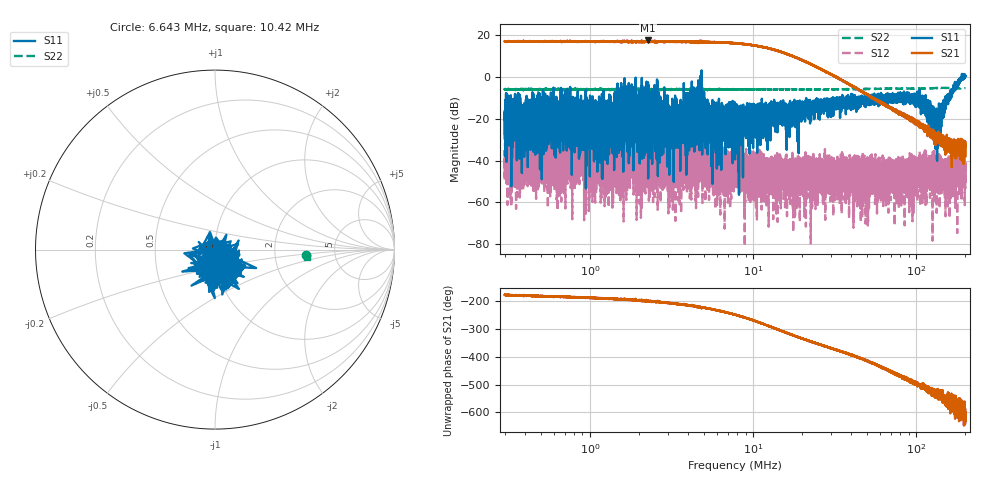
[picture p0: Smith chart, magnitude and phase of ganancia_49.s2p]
# Hz S DB R 50
! CMT, M5065, 19127446, 24.2.4/2
! Date: 11/1/2024 4:44:30 PM
! Data: Format (Calibration Info)
! Freq	S11:dB/Ang(F2)	S21:dB/Ang(F2)	S12:dB/Ang(F2)	S22:dB/Ang(F2)
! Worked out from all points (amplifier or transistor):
!   9000 points, 300 kHz to 200 MHz, reference 50 ohm
!   highest |S21| = 17.5 dB at 2.269 MHz (marker M1)
!   |S21| within 3 dB of that: start of sweep to 11.09 MHz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
!   unconditionally stable (mu >= 1): 2.491 MHz to 4.256 MHz; 4.887 MHz to 187.8 MHz; 188.1 MHz to 189.6 MHz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
!   at 886.8 kHz: K = 3.36, MAG = 18.5 dB, |S12| = -36.3 dB
!   at 7.749 MHz: K = 24.69, MAG = 17.4 dB, |S12| = -52.6 dB
!   at 200 MHz: K = -522.87, MSG = 9.5 dB, |S12| = -50.4 dB
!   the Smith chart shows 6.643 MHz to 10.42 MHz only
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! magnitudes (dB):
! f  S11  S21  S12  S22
! 300 kHz  -29.3  17.1  -49.1  -5.9
! 310.1 kHz  -17.3  17.1  -38.6  -5.8
! 331.2 kHz  -16.4  17.2  -38.2  -5.8
! 354.8 kHz  -28.1  17.1  -37.6  -5.9
! 886.8 kHz  -19.8  17.1  -36.3  -5.9
! 1.229 MHz  -17.7  17.1  -61.8  -5.9
! 1.856 MHz  -22.3  17.0  -48.7  -5.9
! 2.269 MHz  -2.4  17.5  -48.0  -6.0
! 2.621 MHz  -22.0  16.9  -27.0  -6.3
! 2.968 MHz  -21.4  16.9  -40.6  -5.8
! 4.559 MHz  -13.4  16.9  -36.9  -6.0
! 4.838 MHz  -31.8  16.8  -23.5  -6.0
! 6.61 MHz  -17.1  16.6  -51.6  -5.8
! 7.749 MHz  -39.4  16.1  -52.6  -5.9
! 9.5 MHz  -21.2  15.5  -43.1  -5.9
! 22.91 MHz  -12.1  6.1  -42.3  -5.8
! 67.71 MHz  -11.0  -14.3  -42.8  -5.6
! 105 MHz  -10.2  -23.3  -43.7  -5.4
! 133 MHz  -27.4  -27.9  -46.8  -5.2
! 164.4 MHz  -6.7  -31.8  -46.9  -5.2
! 190.7 MHz  0.1  -33.5  -44.6  -5.3
! 200 MHz  0.5  -31.4  -50.4  -5.3
